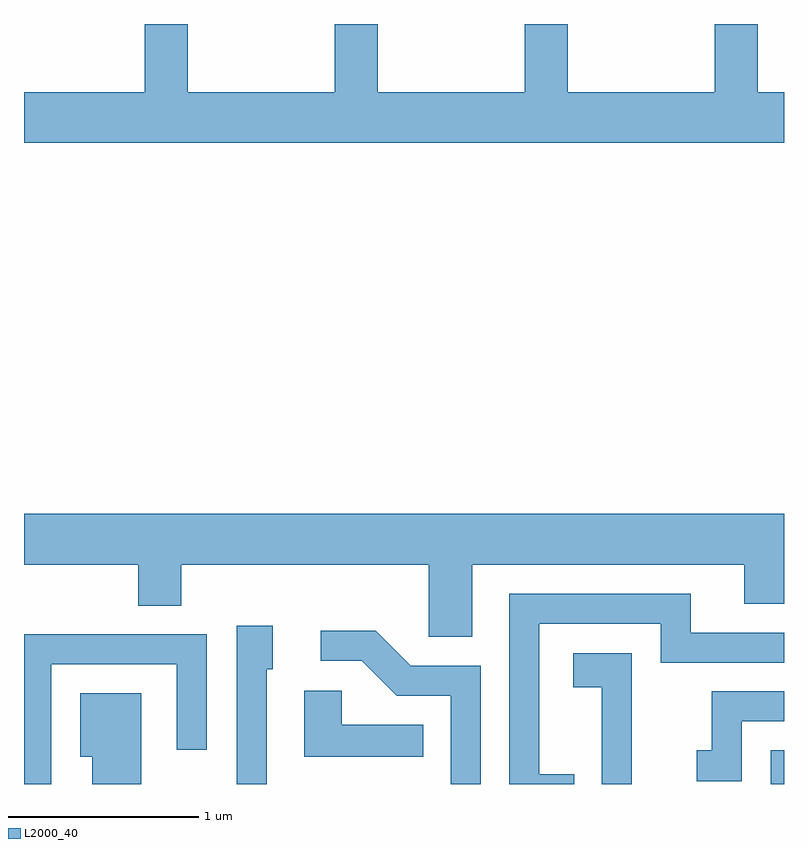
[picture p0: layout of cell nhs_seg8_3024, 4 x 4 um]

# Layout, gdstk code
import gdstk
lib = gdstk.Library(unit=1e-6, precision=1e-09)
def R(c, l, rs):  # rectangles x0, y0, x1, y1
    for r in rs: c.add(gdstk.rectangle(r[:2], r[2:], *l))
def P(c, l, *ps):  # polygons
    for p in ps: c.add(gdstk.Polygon(p, *l))
L2000_40 = (2000, 40)

nhs_seg8_3024 = lib.new_cell('nhs_seg8_3024')
R(nhs_seg8_3024, L2000_40, [(279.541,1866.342,279.611,1866.519)])
P(nhs_seg8_3024, L2000_40, [(279.611,1869.984),(279.474,1869.984),(279.474,1870.342),(279.246,1870.342),(279.246,1869.984),(278.474,1869.984),(278.474,1870.342),(278.246,1870.342),(278.246,1869.984),(277.474,1869.984),(277.474,1870.342),(277.246,1870.342),(277.246,1869.984),(276.474,1869.984),(276.474,1870.342),(276.246,1870.342),(276.246,1869.984),(275.611,1869.984),(275.611,1869.716),(279.611,1869.716)],
  [(277.969,1867.496),(279.401,1867.496),(279.401,1867.291),(279.611,1867.291),(279.611,1867.764),(275.611,1867.764),(275.611,1867.496),(276.211,1867.496),(276.211,1867.281),(276.439,1867.281),(276.439,1867.496),(277.741,1867.496),(277.741,1867.116),(277.969,1867.116)],
  [(278.508,1866.394),(278.324,1866.394),(278.324,1867.186),(278.961,1867.186),(278.961,1866.981),(279.611,1866.981),(279.611,1867.139),(279.119,1867.139),(279.119,1867.344),(278.166,1867.344),(278.166,1866.342),(278.508,1866.342)],
  [(276.889,1866.946),(276.919,1866.946),(276.919,1867.174),(276.731,1867.174),(276.731,1866.342),(276.889,1866.342)],
  [(278.014,1866.964),(277.647,1866.964),(277.462,1867.149),(277.173,1867.149),(277.173,1866.991),(277.389,1866.991),(277.574,1866.806),(277.856,1866.806),(277.856,1866.342),(278.014,1866.342)],
  [(275.754,1866.971),(276.416,1866.971),(276.416,1866.523),(276.574,1866.523),(276.574,1867.129),(275.611,1867.129),(275.611,1866.342),(275.754,1866.342)],
  [(278.809,1867.029),(278.501,1867.029),(278.501,1866.851),(278.651,1866.851),(278.651,1866.342),(278.809,1866.342)],
  [(277.713,1866.654),(277.284,1866.654),(277.284,1866.834),(277.086,1866.834),(277.086,1866.486),(277.713,1866.486)],
  [(279.389,1866.671),(279.611,1866.671),(279.611,1866.829),(279.231,1866.829),(279.231,1866.519),(279.153,1866.519),(279.153,1866.356),(279.389,1866.356)],
  [(276.229,1866.819),(275.906,1866.819),(275.906,1866.486),(275.971,1866.486),(275.971,1866.342),(276.229,1866.342)])

lib.write_gds('nhs_seg8_3024.gds')
